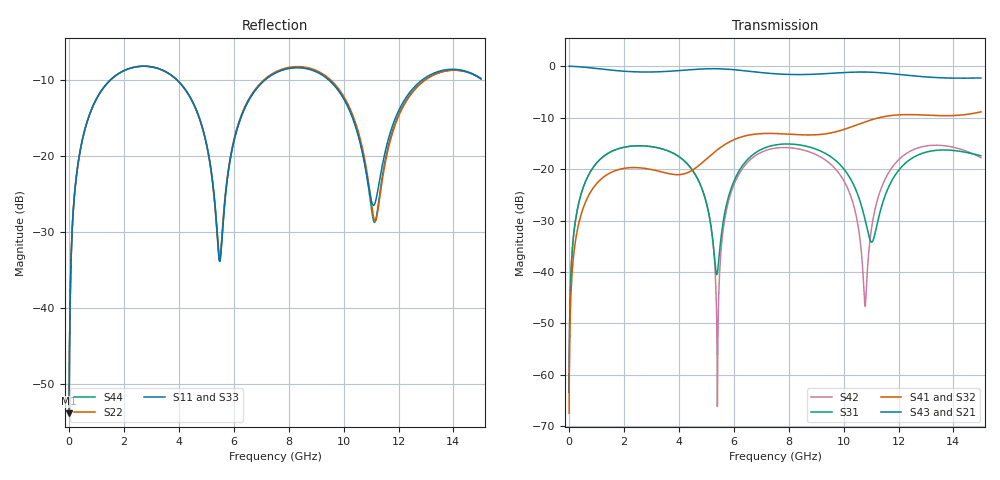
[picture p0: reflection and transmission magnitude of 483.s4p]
! Created with skrf 1.8.0 (http://scikit-rf.org).
# GHz S RI R 50.0
!freq ReS11 ImS11 ReS12 ImS12 ReS13 ImS13
! ReS14 ImS14
! ReS21 ImS21 ReS22 ImS22 ReS23 ImS23
! ReS24 ImS24
! ReS31 ImS31 ReS32 ImS32 ReS33 ImS33
! ReS34 ImS34
! ReS41 ImS41 ReS42 ImS42 ReS43 ImS43
! ReS44 ImS44
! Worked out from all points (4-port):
!   2499 points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, 5 MHz to 15 GHz, reference 50 ohm
!   strongest paths, dB at 5 MHz, 3.476 GHz, 7.19 GHz, 11.1 GHz, 15 GHz:
!     S43: 0.0, -1.1, -1.4, -1.2, -2.3
!     S21: 0.0, -1.1, -1.4, -1.2, -2.3
!     S41: -67.5, -20.7, -13.1, -10.3, -8.9
!     S32: -67.5, -20.7, -13.1, -10.3, -8.9
!     S31: -63.4, -16.2, -15.8, -33.5, -17.4
!     S42: -63.4, -16.2, -16.3, -29.0, -17.8
!   lowest |S11| = -53.8 dB at 5 MHz (marker M1), VSWR 1.00, Z = 50.2 + j0.124 ohm
!   |S11| at or under -10 dB: start of sweep to 1.516 GHz; 3.926 GHz to 7.146 GHz (3.22 GHz wide, 58.2 % of centre); 9.451 GHz to 12.87 GHz (3.418 GHz wide, 30.6 % of centre)
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0.005  0.00163 0.00123  0.9983 -0.00317  8.25e-05 0.00067  -8e-05 -0.000416
       0.9983 -0.00317  0.00163 0.00123  -8e-05 -0.000416  8.25e-05 0.00067
       8.25e-05 0.00067  -8e-05 -0.000416  0.00163 0.00123  0.9983 -0.00317
       -8e-05 -0.000416  8.25e-05 0.00067  0.9983 -0.00317  0.00163 0.00123
1.569404  0.2702 0.1764  0.5471 -0.7302  0.1343 0.0648  -0.0936 -0.00543
          0.5471 -0.7302  0.2701 0.1765  -0.0935 -0.00545  0.1344 0.0647
          0.1343 0.0648  -0.0935 -0.00545  0.2703 0.1764  0.5471 -0.7302
          -0.0936 -0.00543  0.1344 0.0647  0.5471 -0.7302  0.2702 0.1765
4.545644  0.1361 -0.1704  -0.7345 -0.5672  0.046 -0.0807  -0.0396 0.0913
          -0.7345 -0.5672  0.1362 -0.1697  -0.0398 0.0911  0.0416 -0.0839
          0.046 -0.0807  -0.0398 0.0911  0.1369 -0.1717  -0.7339 -0.5673
          -0.0396 0.0913  0.0416 -0.0839  -0.7339 -0.5673  0.1373 -0.1706
5.402251  0.0214 -0.0207  -0.9333 -0.1322  0.00974 0.000708  -0.0165 0.1528
          -0.9333 -0.1322  0.0216 -0.0191  -0.0169 0.1527  0.000272 -0.000412
          0.00974 0.000708  -0.0169 0.1527  0.0213 -0.0231  -0.9331 -0.133
          -0.0165 0.1528  0.000272 -0.000412  -0.9331 -0.133  0.0223 -0.0214
6.865361  0.216 0.1803  -0.6606 0.568  0.1431 0.0382  0.1736 0.1343
          -0.6606 0.568  0.2202 0.1825  0.1732 0.1348  0.1298 0.0499
          0.1431 0.0382  0.1732 0.1348  0.2132 0.1784  -0.6617 0.5683
          0.1736 0.1343  0.1298 0.0499  -0.6617 0.5683  0.2183 0.1796
11.04835  0.0477 -0.00821  0.8579 0.1525  -0.0146 0.0133  0.0438 -0.2996
          0.8579 0.1525  0.0385 -0.0216  0.0453 -0.2993  0.0186 0.0235
          -0.0146 0.0133  0.0453 -0.2993  0.0465 -0.00299  0.8587 0.1482
          0.0438 -0.2996  0.0186 0.0235  0.8587 0.1482  0.0373 -0.0165
15  0.3028 -0.1058  -0.2943 -0.7073  -0.0586 -0.1211  -0.3288 0.1444
    -0.2943 -0.7073  0.3096 -0.0945  -0.3298 0.142  -0.0481 -0.1196
    -0.0586 -0.1211  -0.3298 0.142  0.2993 -0.1064  -0.3 -0.7058
    -0.3288 0.1444  -0.0481 -0.1196  -0.3 -0.7058  0.3063 -0.0953
